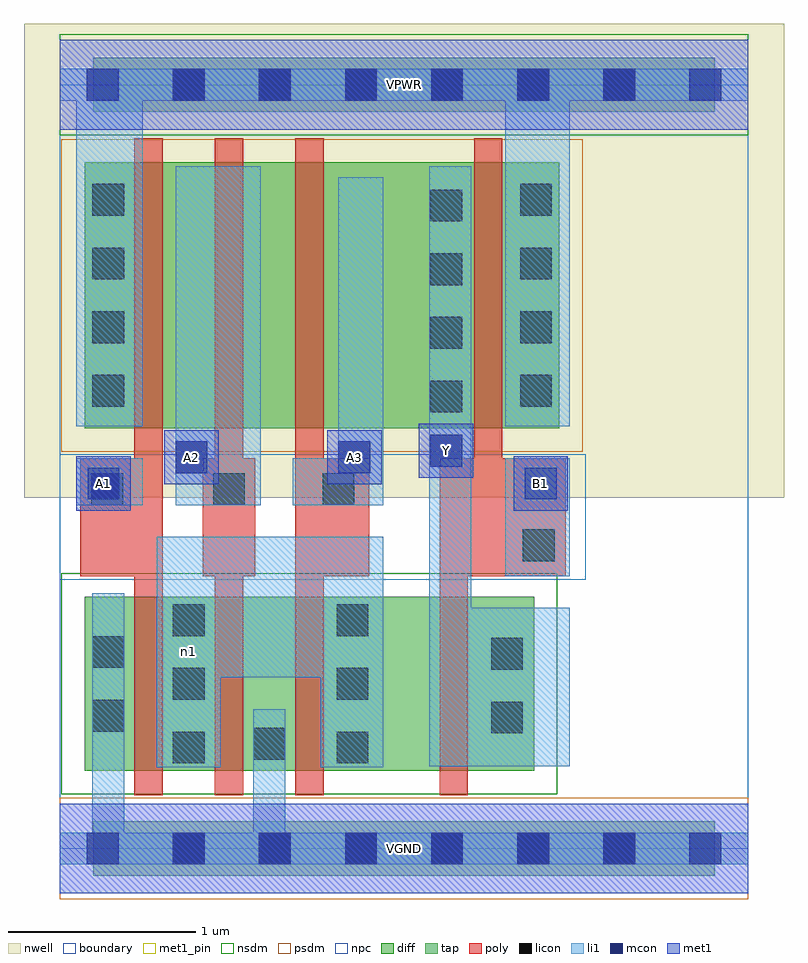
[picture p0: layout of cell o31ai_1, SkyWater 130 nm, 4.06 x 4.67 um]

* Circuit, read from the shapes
.subckt o31ai_1 A1 A2 A3 B1 VGND VPWR Y n1
XM1 n1 A1 VGND VGND sky130_fd_pr__nfet_01v8 w=0.93 l=0.15
XM2 VGND A2 n1 VGND sky130_fd_pr__nfet_01v8 w=0.93 l=0.15
XM3 n1 A3 VGND VGND sky130_fd_pr__nfet_01v8 w=0.93 l=0.15
XM4 Y B1 n1 VGND sky130_fd_pr__nfet_01v8 w=0.93 l=0.15
XM5 n2 A1 VPWR VPWR sky130_fd_pr__pfet_01v8 w=1.42 l=0.15
XM6 n3 A2 n2 VPWR sky130_fd_pr__pfet_01v8 w=1.42 l=0.15
XM7 Y A3 n3 VPWR sky130_fd_pr__pfet_01v8 w=1.42 l=0.15
XM8 VPWR B1 Y VPWR sky130_fd_pr__pfet_01v8 w=1.42 l=0.15
.ends

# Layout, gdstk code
import gdstk
lib = gdstk.Library(unit=1e-6, precision=1e-09)
def R(c, l, rs):  # rectangles x0, y0, x1, y1
    for r in rs: c.add(gdstk.rectangle(r[:2], r[2:], *l))
def A(c, l, x, y, w, h, nx, ny, dx, dy):  # array of equal rectangles
    R(c, l, [(x+i*dx, y+j*dy, x+i*dx+w, y+j*dy+h) for i in range(nx) for j in range(ny)])
nwell = (64, 20)
diff = (65, 20)
tap = (65, 44)
poly = (66, 20)
licon = (66, 44)
li1 = (67, 20)
mcon = (67, 44)
met1_pin = (68, 16)
met1 = (68, 20)
nsdm = (93, 44)
psdm = (94, 20)
npc = (95, 20)
boundary = (235, 4)

o31ai_1 = lib.new_cell('o31ai_1')
R(o31ai_1, nwell, [(-0.19,1.875,3.87,4.405), (0,1.875,3.68,4.405)])
R(o31ai_1, diff, [(0.135,0.415,2.535,1.345), (0.135,2.245,2.67,3.665)])
R(o31ai_1, tap, [(0.18,-0.145,3.5,0.145), (0.18,3.935,3.5,4.225)])
A(o31ai_1, poly, 0.4, 0.285, 0.15, 3.51, 3, 1, 0.43, 0)
R(o31ai_1, poly, [(2.03,0.285,2.18,2.085), (0.11,1.455,0.55,2.085), (0.765,1.455,1.045,2.085), (1.26,1.455,1.655,2.085), (2.03,1.455,2.705,2.085), (2.215,1.455,2.365,3.795)])
A(o31ai_1, licon, 0.605, -0.085, 0.17, 0.17, 6, 2, 0.46, 4.08)
A(o31ai_1, licon, 0.605, 0.455, 0.17, 0.17, 1, 3, 0, 0.34)
A(o31ai_1, licon, 1.48, 0.455, 0.17, 0.17, 1, 3, 0, 0.34)
A(o31ai_1, licon, 1.98, 2.33, 0.17, 0.17, 1, 4, 0, 0.34)
A(o31ai_1, licon, 0.175, 2.36, 0.17, 0.17, 1, 4, 0, 0.34)
A(o31ai_1, licon, 2.46, 2.36, 0.17, 0.17, 1, 4, 0, 0.34)
R(o31ai_1, licon, [(1.035,0.475,1.205,0.645), (2.305,0.615,2.475,0.785), (0.175,0.625,0.345,0.795), (2.305,0.955,2.475,1.125), (0.175,0.965,0.345,1.135), (2.475,1.535,2.645,1.705), (0.17,1.835,0.34,2.005), (0.82,1.835,0.99,2.005), (1.405,1.835,1.575,2.005)])
R(o31ai_1, li1, [(0,-0.085,3.68,0.085), (0.175,-0.085,0.345,1.365), (1.035,-0.085,1.205,0.745), (0.52,0.435,0.86,1.665), (1.395,0.435,1.73,1.665), (1.975,0.44,2.2,3.645), (1.975,0.44,2.725,1.285), (0.52,0.915,1.73,1.665), (2.38,1.455,2.725,2.085), (0.09,1.835,0.445,2.085), (0.62,1.835,1.075,3.645), (1.245,1.835,1.73,2.085), (1.49,1.835,1.73,3.585), (0.09,2.255,0.445,4.165), (2.38,2.255,2.725,4.165), (0,3.995,3.68,4.165)])
A(o31ai_1, mcon, 0.145, -0.085, 0.17, 0.17, 8, 2, 0.46, 4.08)
R(o31ai_1, mcon, [(0.15,1.865,0.32,2.035), (2.485,1.865,2.655,2.035), (0.62,2.005,0.79,2.175), (1.49,2.005,1.66,2.175), (1.98,2.04,2.15,2.21)])
R(o31ai_1, met1_pin, [(0,-0.24,3.68,0.24), (0.09,1.805,0.38,2.095), (2.425,1.805,2.715,2.095), (0.56,1.945,0.85,2.235), (1.43,1.945,1.72,2.235), (1.92,1.98,2.21,2.27), (0,3.84,3.68,4.32)])
R(o31ai_1, met1, [(0,-0.24,3.68,0.24), (0.09,1.805,0.38,2.095), (2.425,1.805,2.715,2.095), (0.56,1.945,0.85,2.235), (1.43,1.945,1.72,2.235), (1.92,1.98,2.21,2.27), (0,3.84,3.68,4.32)])
R(o31ai_1, nsdm, [(0.01,0.29,2.66,1.47), (0,3.81,3.68,4.35)])
R(o31ai_1, psdm, [(0,-0.27,3.68,0.27), (0.01,2.12,2.795,3.79)])
R(o31ai_1, npc, [(0,1.435,2.81,2.105)])
R(o31ai_1, boundary, [(0,0,3.68,4.08)])
o31ai_1.add(gdstk.Label('n1', (0.69,1.05), layer=67, texttype=5))
o31ai_1.add(gdstk.Label('A1', (0.235,1.95), layer=68, texttype=5))
o31ai_1.add(gdstk.Label('A2', (0.705,2.09), layer=68, texttype=5))
o31ai_1.add(gdstk.Label('A3', (1.575,2.09), layer=68, texttype=5))
o31ai_1.add(gdstk.Label('B1', (2.57,1.95), layer=68, texttype=5))
o31ai_1.add(gdstk.Label('Y', (2.065,2.125), layer=68, texttype=5))
o31ai_1.add(gdstk.Label('VPWR', (1.84,4.08), layer=68, texttype=5))
o31ai_1.add(gdstk.Label('VGND', (1.84,0), layer=68, texttype=5))
o31ai_1.add(gdstk.Label('A1', (0.235,1.95), layer=68, texttype=16))
o31ai_1.add(gdstk.Label('A2', (0.705,2.09), layer=68, texttype=16))
o31ai_1.add(gdstk.Label('A3', (1.575,2.09), layer=68, texttype=16))
o31ai_1.add(gdstk.Label('B1', (2.57,1.95), layer=68, texttype=16))
o31ai_1.add(gdstk.Label('Y', (2.065,2.125), layer=68, texttype=16))
o31ai_1.add(gdstk.Label('VPWR', (1.84,4.08), layer=68, texttype=16))
o31ai_1.add(gdstk.Label('VGND', (1.84,0), layer=68, texttype=16))

lib.write_gds('o31ai_1.gds')
